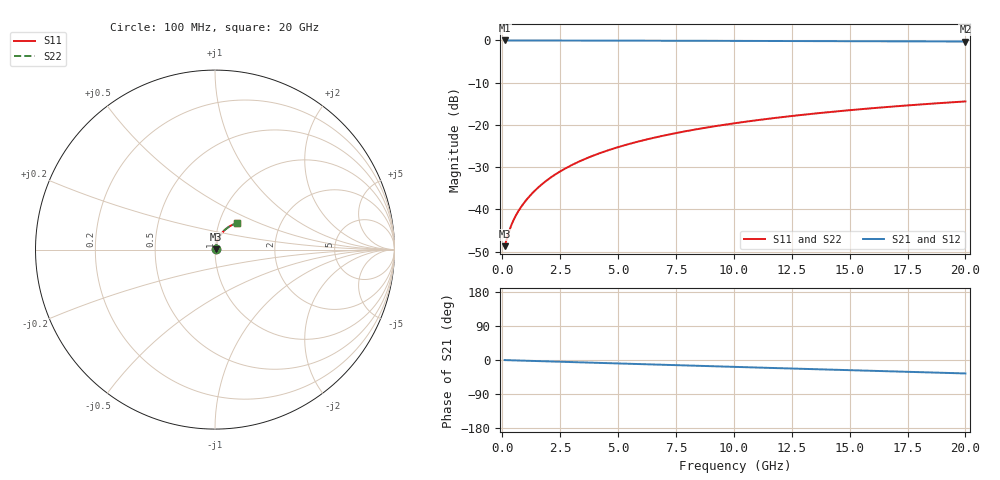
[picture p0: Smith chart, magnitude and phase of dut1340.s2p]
! Touchstone file exported from HFSS 2026.1.0
!  File:  C:/ffzhzh/LocalFiles/Ansys_Project_Files/temp_train_BSMRDL_1340_1783178838_22436.aedt
!  Generated:  11:28:31 PM Jul  4, 2026
!  Design:  BSMRDL
!  Project:  temp_train_BSMRDL_1340_1783178838_22436
! Variables:
!  h_bsmrdl = 3.06um
!  h_ox = 20um
!  h_rdl = 5um
!  h_sub = 80um
!  h_tmrdl = 5um
!  h_tsv = 80um
!  h_via = 3um
!  l_bsmrdl = 589.28um
!  l_sub = 989.28um
!  l_tmrdl = 200um
!  m_sub = 200um
!  pitch = 31.67um
!  r_tsv = 6um
!  s_tmrdl = 10um
!  w_bsmrdl = 21.73um
!  w_sub = 500um
!  w_tmrdl = 12um
!  x_tsv_center1 = 206um
!  x_tsv_center2 = 817.01um
!  x_tsv_center3 = 1029.01um
!  x_tsv_center4 = 1640.02um
!  x_tsv_center5 = 1852.02um
!  x_tsv_center6 = 2463.03um
# GHz S MA R 50.000000
! Terminal data exported
! Port[1] = BSM_RDL1_1_T1
! Port[2] = BSM_RDL1_1_T2
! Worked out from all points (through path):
!   200 points, 100 MHz to 20 GHz, reference 50 ohm
!   highest |S21| = -0.03 dB at 100 MHz (marker M1); lowest = -0.3 dB at 20 GHz (marker M2)
!   group delay of S21, straight-line fit = 4.92 ps
!   lowest |S11| = -48.7 dB at 100 MHz (marker M3), VSWR 1.01, Z = 50.3 + j0.146 ohm
!   |S11| at or under -10 dB: start of sweep to end of sweep
!   |S22| runs from -48.7 to -14.4 dB; largest |S21 - S12| = 2.7e-15
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0.1  0.00368 23.1  0.9966 -0.2  0.9966 -0.2  0.00368 23.1
! Gamma 0 0 0 0
! Port Impedance 50 0 50 0
0.3  0.005591 46.3  0.9962 -0.6  0.9962 -0.6  0.005591 46.3
0.4  0.006623 51.5  0.9959 -0.8  0.9959 -0.8  0.006623 51.5
0.5  0.007629 55.2  0.9957 -1.0  0.9957 -1.0  0.00763 55.2
0.6  0.008617 58.2  0.9956 -1.2  0.9956 -1.2  0.008618 58.2
0.8  0.01058 62.6  0.9953 -1.5  0.9953 -1.5  0.01058 62.6
1  0.01257 65.8  0.9952 -1.9  0.9952 -1.9  0.01257 65.8
1.2  0.01458 68.2  0.995 -2.2  0.995 -2.2  0.01458 68.2
1.4  0.01663 70.0  0.9949 -2.6  0.9949 -2.6  0.01663 70.0
1.7  0.01974 72.0  0.9948 -3.2  0.9948 -3.2  0.01975 71.9
2.2  0.02501 73.8  0.9945 -4.1  0.9945 -4.1  0.02501 73.8
2.8  0.03137 74.8  0.994 -5.2  0.994 -5.2  0.03137 74.8
3.5  0.0388 75.0  0.9935 -6.4  0.9935 -6.4  0.0388 75.0
4.2  0.04619 74.7  0.9928 -7.7  0.9928 -7.7  0.04619 74.6
5  0.05456 73.9  0.9919 -9.2  0.9919 -9.2  0.05456 73.9
5.9  0.06386 72.8  0.9909 -10.8  0.9909 -10.8  0.06386 72.8
6.8  0.07301 71.6  0.9897 -12.4  0.9897 -12.4  0.07301 71.6
8.3  0.08792 69.3  0.9876 -15.1  0.9876 -15.1  0.08792 69.3
10.1  0.1052 66.5  0.9848 -18.3  0.9848 -18.3  0.1052 66.4
13.4  0.1354 61.2  0.9794 -24.1  0.9794 -24.1  0.1354 61.1
16.7  0.1635 55.8  0.9738 -29.8  0.9738 -29.8  0.1635 55.7
20  0.1895 50.5  0.968 -35.5  0.968 -35.5  0.1895 50.4
